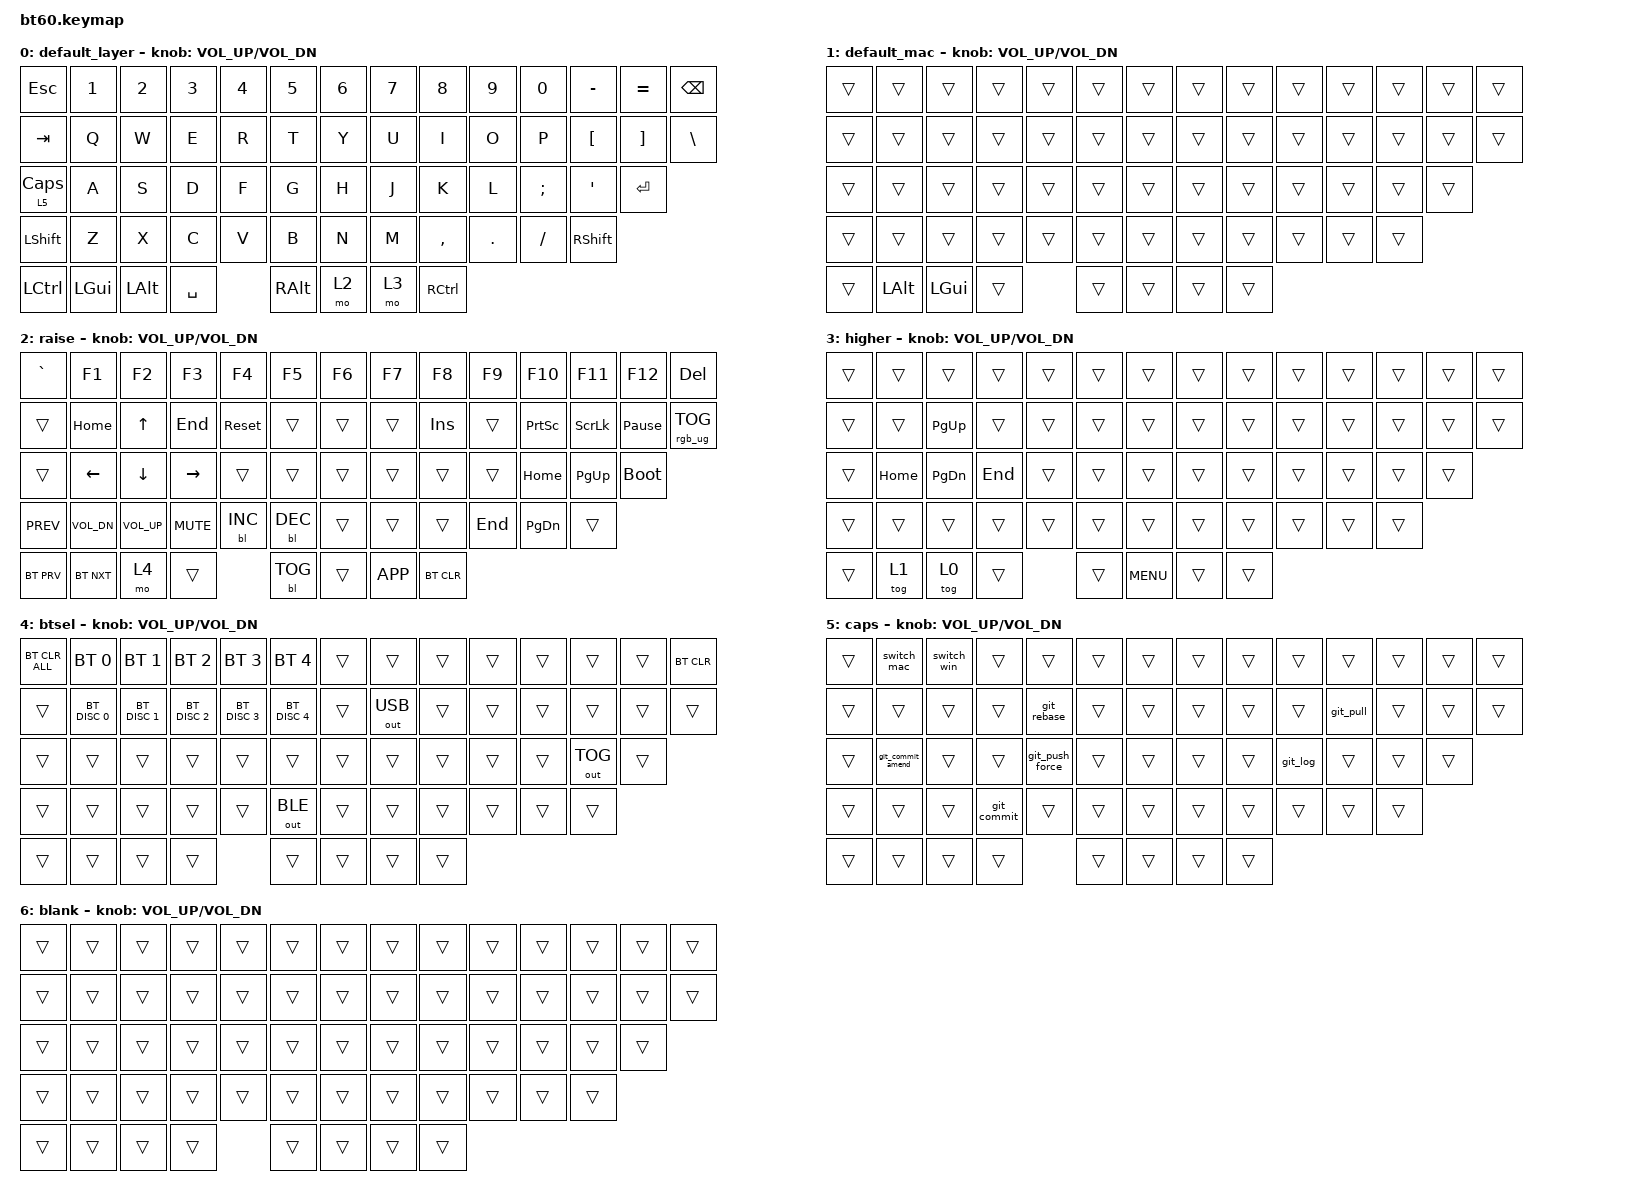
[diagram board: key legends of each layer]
#include <behaviors.dtsi>
#include <dt-bindings/zmk/keys.h>
#include <dt-bindings/zmk/bt.h>
#include <dt-bindings/zmk/rgb.h>
#include <dt-bindings/zmk/backlight.h>
#include <dt-bindings/zmk/outputs.h>

/ {
  macros {
    switch_mac: switch_mac {
      compatible = "zmk,behavior-macro";
      #binding-cells = <0>;
      bindings = <&bt BT_SEL 0 &to 0>;
    };
    switch_win: switch_win {
      compatible = "zmk,behavior-macro";
      #binding-cells = <0>;
      bindings = <&bt BT_SEL 1 &to 1>;
    };
    git_rebase: git_rebase {
      compatible = "zmk,behavior-macro";
      #binding-cells = <0>;
      bindings = <&macro_tap &kp G &kp R &kp B &kp I &kp RET>;
    };
    git_pull: git_pull {
      compatible = "zmk,behavior-macro";
      #binding-cells = <0>;
      bindings = <&macro_tap &kp G &kp P &kp R &kp RET>;
    };
    git_log: git_log {
      compatible = "zmk,behavior-macro";
      #binding-cells = <0>;
      bindings = <&macro_tap &kp G &kp L &kp O &kp L &kp RET>;
    };
    git_commit: git_commit {
      compatible = "zmk,behavior-macro";
      #binding-cells = <0>;
      bindings = <&macro_tap &kp G &kp C &kp RET>;
    };
    git_commit_all: git_commit_all {
      compatible = "zmk,behavior-macro";
      #binding-cells = <0>;
      bindings = <&macro_tap &kp G &kp C &kp A &kp RET>;
    };
    git_commit_amend: git_commit_amend {
      compatible = "zmk,behavior-macro";
      #binding-cells = <0>;
      bindings = <&macro_tap &kp G &kp C &kp EXCLAMATION &kp RET>;
    };
    git_commit_all_amend: git_commit_all_amend {
      compatible = "zmk,behavior-macro";
      #binding-cells = <0>;
      bindings = <&macro_tap &kp G &kp C &kp A &kp EXCLAMATION &kp RET>;
    };
    git_push_force: git_push_force {
      compatible = "zmk,behavior-macro";
      #binding-cells = <0>;
      bindings = <&macro_tap &kp G &kp P &kp F &kp RET>;
    };
  };
	keymap {
		compatible = "zmk,keymap";

		default_layer {
			bindings = <

				&kp ESC &kp N1 &kp N2 &kp N3 &kp N4 &kp N5 &kp N6 &kp N7 &kp  N8   &kp  N9 &kp  N0  &kp MINUS &kp EQUAL &kp BSPC
				&kp TAB  &kp Q  &kp W  &kp E  &kp R  &kp T  &kp Y  &kp U  &kp  I    &kp  O  &kp  P   &kp LBKT &kp RBKT   &kp BSLH
				&lt 5 CAPS  &kp A  &kp S  &kp D  &kp F  &kp G  &kp H  &kp J  &kp  K    &kp  L  &kp SEMI &kp SQT            &kp RET
				&kp LSHFT  &kp Z  &kp X  &kp C  &kp V  &kp B  &kp N  &kp M  &kp COMMA &kp DOT &kp FSLH                   &kp RSHFT
				&kp LCTRL &kp LGUI &kp LALT            &kp SPACE                          &kp RALT  &mo 2 &mo 3    &kp RCTRL
			>;
			sensor-bindings = <&inc_dec_kp C_VOL_UP C_VOL_DN>;
		};
		default_mac {
			bindings = <
                                &trans &trans &trans &trans &trans &trans &trans &trans &trans &trans &trans &trans &trans &trans
                                &trans &trans &trans &trans &trans &trans &trans &trans &trans &trans &trans &trans &trans &trans
                                &trans &trans &trans &trans &trans &trans &trans &trans &trans &trans &trans &trans &trans
                                &trans &trans &trans &trans &trans &trans &trans &trans &trans &trans &trans &trans
                                &trans &kp LALT &kp LGUI &trans &trans &trans &trans &trans
			>;
			sensor-bindings = <&inc_dec_kp C_VOL_UP C_VOL_DN>;
		};
		raise {
			bindings = <
				&kp GRAVE &kp F1 &kp F2 &kp F3 &kp F4 &kp F5 &kp F6 &kp F7 &kp F8 &kp F9 &kp F10 &kp F11 &kp F12 &kp DEL
				&trans &kp HOME &kp UP &kp END &sys_reset &trans &trans &trans &kp INS &trans &kp PSCRN &kp SLCK &kp PAUSE_BREAK &rgb_ug RGB_TOG
				&trans  &kp LEFT &kp DOWN &kp RIGHT &trans &trans &trans &trans &trans &trans &kp HOME  &kp PG_UP   &bootloader
				&kp C_PREV &kp C_VOL_DN &kp C_VOL_UP &kp C_MUTE &bl BL_INC &bl BL_DEC &trans &trans &trans &kp END &kp PG_DN  &trans
				&bt BT_PRV &bt BT_NXT  &mo 4              &trans                            &bl BL_TOG   &trans   &kp K_APP &bt BT_CLR
			>;
			sensor-bindings = <&inc_dec_kp C_VOL_UP C_VOL_DN>;
		};
		higher {
			bindings = <
                                &trans &trans &trans &trans &trans &trans &trans &trans &trans &trans &trans &trans &trans &trans
                                &trans &trans &kp PG_UP &trans &trans &trans &trans &trans &trans &trans &trans &trans &trans &trans
                                &trans &kp HOME &kp PG_DN &kp END &trans &trans &trans &trans &trans &trans &trans &trans &trans
                                &trans &trans &trans &trans &trans &trans &trans &trans &trans &trans &trans &trans
                                &trans &tog 1 &tog 0 &trans &trans &kp C_MENU &trans &trans
			>;
			sensor-bindings = <&inc_dec_kp C_VOL_UP C_VOL_DN>;
		};
		btsel {
			bindings = <
                                &bt BT_CLR_ALL &bt BT_SEL 0 &bt BT_SEL 1 &bt BT_SEL 2 &bt BT_SEL 3 &bt BT_SEL 4 &trans &trans &trans &trans &trans &trans &trans &bt BT_CLR
                                &trans &bt BT_DISC 0 &bt BT_DISC 1 &bt BT_DISC 2 &bt BT_DISC 3 &bt BT_DISC 4 &trans &out OUT_USB &trans &trans &trans &trans &trans &trans
                                &trans &trans &trans &trans &trans &trans &trans &trans &trans &trans &trans &out OUT_TOG &trans
                                &trans &trans &trans &trans &trans &out OUT_BLE &trans &trans &trans &trans &trans &trans
                                &trans &trans &trans &trans &trans &trans &trans &trans
			>;
			sensor-bindings = <&inc_dec_kp C_VOL_UP C_VOL_DN>;
		};
		caps {
			bindings = <
                                &trans &switch_mac &switch_win &trans &trans &trans &trans &trans &trans &trans &trans &trans &trans &trans
                                &trans &trans &trans &trans &git_rebase &trans &trans &trans &trans &trans &git_pull &trans &trans &trans
                                &trans &git_commit_amend &trans &trans &git_push_force &trans &trans &trans &trans &git_log &trans &trans &trans
                                &trans &trans &trans &git_commit &trans &trans &trans &trans &trans &trans &trans &trans
                                &trans &trans &trans &trans &trans &trans &trans &trans
			>;
			sensor-bindings = <&inc_dec_kp C_VOL_UP C_VOL_DN>;
		};
		blank {
			bindings = <
                                &trans &trans &trans &trans &trans &trans &trans &trans &trans &trans &trans &trans &trans &trans
                                &trans &trans &trans &trans &trans &trans &trans &trans &trans &trans &trans &trans &trans &trans
                                &trans &trans &trans &trans &trans &trans &trans &trans &trans &trans &trans &trans &trans
                                &trans &trans &trans &trans &trans &trans &trans &trans &trans &trans &trans &trans
                                &trans &trans &trans &trans &trans &trans &trans &trans
			>;
			sensor-bindings = <&inc_dec_kp C_VOL_UP C_VOL_DN>;
		};
	};
};
